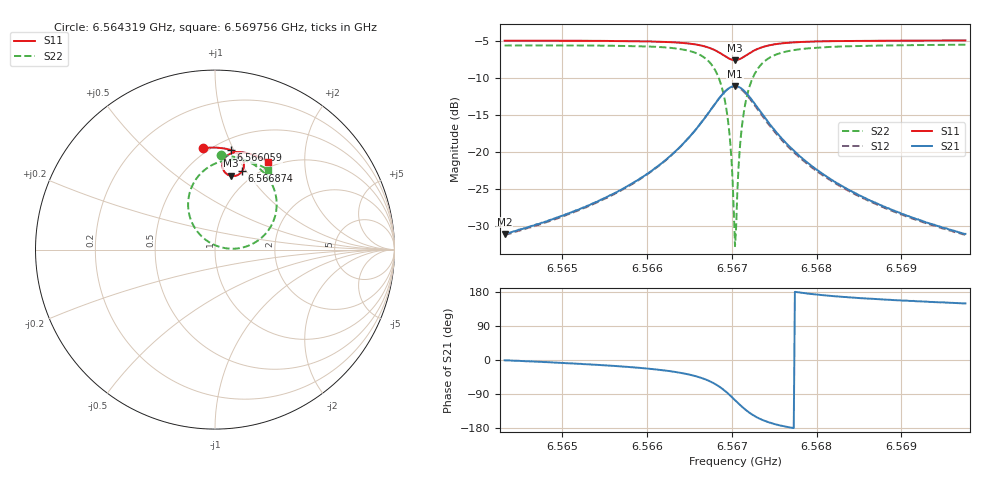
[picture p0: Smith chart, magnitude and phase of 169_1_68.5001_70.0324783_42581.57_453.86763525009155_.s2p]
#  HZ  S  RI  R  50.00
! Rohde & Schwarz Vector Network Analyzer
! Rohde-Schwarz,ZNB20-2Port,1311601062101988,3.16
! Created: UTC 3/20/2024, 4:56:06 PM
! freq[Hz]  re:S11  im:S11  re:S21  im:S21  re:S12  im:S12  re:S22  im:S22
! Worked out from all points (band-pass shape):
!   401 points, 6.564319 GHz to 6.569756 GHz, reference 50 ohm
!   highest |S21| = -11.04 dB at 6.567038 GHz (marker M1); lowest = -31.1 dB at 6.564319 GHz (marker M2)
!   |S21| within 3 dB of the highest: 6.566765 GHz to 6.567309 GHz (544.4 kHz wide, 0.00829 % of centre)
!   lowest |S11| = -7.5 dB at 6.567038 GHz (marker M3), VSWR 2.45, Z = 41.1 + j41 ohm
!   |S11| at or under -10 dB: nowhere
!   |S22| runs from -32.7 to -5.4 dB; largest |S21 - S12| = 0.013
!   S11 on the Smith chart (normalised r, x): 6.564319 GHz: 0.46, +0.78; 6.566059 GHz: 0.60, +0.97; 6.566874 GHz: 0.86, +0.96; 6.569756 GHz: 0.91, +1.32
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6.564319e9  -0.0654 0.5654  0.028 -0.000382  0.0276 -0.000755  0.0355 0.5268
6.5652297e9  0.00927 0.568  0.0413 -0.00769  0.0405 -0.00814  0.122 0.5135
6.5660589e9  0.0864 0.5551  0.0688 -0.0304  0.0679 -0.0313  0.2294 0.4652
6.5661404e9  0.095 0.5519  0.0734 -0.0355  0.0724 -0.0364  0.2436 0.4548
6.5664395e9  0.1296 0.5327  0.0946 -0.0679  0.0931 -0.0694  0.3025 0.3906
6.5666569e9  0.1548 0.5015  0.1082 -0.1225  0.1059 -0.125  0.3416 0.2851
6.5667793e9  0.1613 0.4702  0.1006 -0.1773  0.0962 -0.1807  0.333 0.1804
6.5668744e9  0.1522 0.4388  0.0677 -0.2313  0.0599 -0.2345  0.2735 0.0794
6.566956e9  0.1266 0.4153  0.00655 -0.2687  -0.00454 -0.2688  0.1613 0.0134
6.5669832e9  0.1144 0.4111  -0.0201 -0.2744  -0.032 -0.2727  0.1129 0.00529
6.5670239e9  0.0943 0.4098  -0.0628 -0.2732  -0.0746 -0.2682  0.0371 0.0121
6.5670375e9  0.0876 0.411  -0.0767 -0.2698  -0.0884 -0.2637  0.0126 0.0194
6.5670511e9  0.0811 0.4129  -0.0905 -0.2652  -0.1017 -0.2581  -0.011 0.0294
6.5670647e9  0.0748 0.4154  -0.1035 -0.2592  -0.1142 -0.2512  -0.0332 0.0417
6.5670919e9  0.0635 0.4225  -0.1272 -0.2438  -0.1364 -0.2341  -0.0726 0.0719
6.5671327e9  0.0506 0.4367  -0.1549 -0.2146  -0.1615 -0.2035  -0.1163 0.127
6.5671871e9  0.0418 0.4582  -0.1759 -0.1715  -0.1789 -0.1602  -0.1455 0.205
6.567255e9  0.042 0.4835  -0.1819 -0.1223  -0.1814 -0.1123  -0.1466 0.2915
6.5675133e9  0.0816 0.5326  -0.1369 -0.025  -0.134 -0.0211  -0.0441 0.4542
6.5679483e9  0.142 0.5431  -0.0797 0.00855  -0.0781 0.00967  0.0863 0.5002
6.568859e9  0.2267 0.5224  -0.0387 0.0149  -0.0379 0.0152  0.2167 0.4821
6.5697561e9  0.293 0.4902  -0.0242 0.0143  -0.0235 0.0144  0.2952 0.4457
